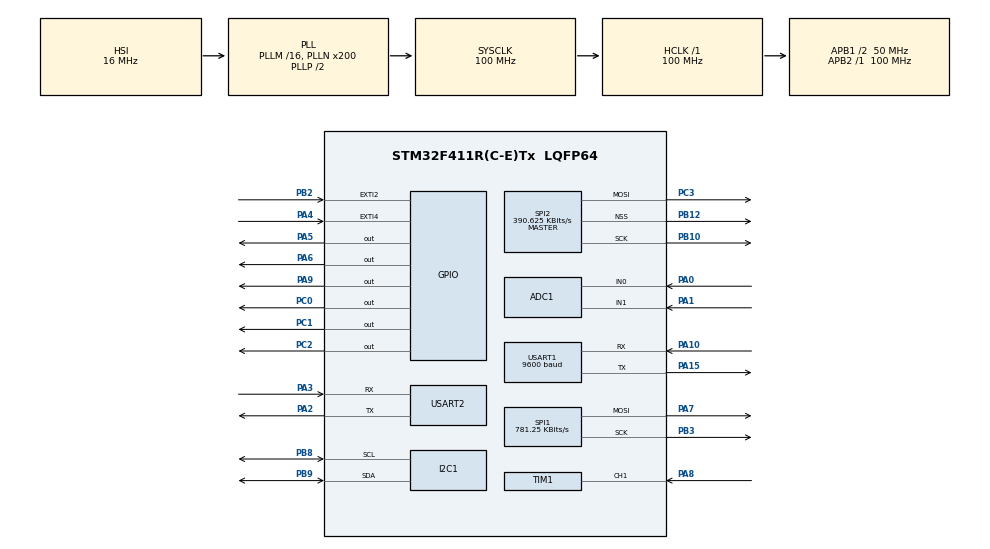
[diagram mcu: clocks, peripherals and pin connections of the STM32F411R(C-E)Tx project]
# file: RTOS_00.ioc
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ADC1.Channel-0\#ChannelRegularConversion=ADC_CHANNEL_0
ADC1.Channel-3\#ChannelRegularConversion=ADC_CHANNEL_1
ADC1.EOCSelection=ADC_EOC_SEQ_CONV
ADC1.InjNumberOfConversion=0
ADC1.NbrOfConversion=2
ADC1.NbrOfConversionFlag=1
ADC1.Rank-0\#ChannelRegularConversion=1
ADC1.Rank-3\#ChannelRegularConversion=2
ADC1.SamplingTime-0\#ChannelRegularConversion=ADC_SAMPLETIME_84CYCLES
ADC1.SamplingTime-3\#ChannelRegularConversion=ADC_SAMPLETIME_84CYCLES
ADC1.ScanConvMode=ENABLE
ADC1.master=1
Dma.ADC1.2.Direction=DMA_PERIPH_TO_MEMORY
Dma.ADC1.2.FIFOMode=DMA_FIFOMODE_DISABLE
Dma.ADC1.2.Instance=DMA2_Stream0
Dma.ADC1.2.MemDataAlignment=DMA_MDATAALIGN_HALFWORD
Dma.ADC1.2.MemInc=DMA_MINC_ENABLE
Dma.ADC1.2.Mode=DMA_NORMAL
Dma.ADC1.2.PeriphDataAlignment=DMA_PDATAALIGN_HALFWORD
Dma.ADC1.2.PeriphInc=DMA_PINC_DISABLE
Dma.ADC1.2.Priority=DMA_PRIORITY_LOW
Dma.Request0=USART2_RX
Dma.Request1=USART2_TX
Dma.Request2=ADC1
Dma.Request3=SPI2_TX
Dma.SPI2_TX.3.Direction=DMA_MEMORY_TO_PERIPH
Dma.SPI2_TX.3.FIFOMode=DMA_FIFOMODE_DISABLE
Dma.SPI2_TX.3.Instance=DMA1_Stream4
Dma.SPI2_TX.3.MemDataAlignment=DMA_MDATAALIGN_BYTE
Dma.SPI2_TX.3.MemInc=DMA_MINC_ENABLE
Dma.SPI2_TX.3.Mode=DMA_NORMAL
Dma.SPI2_TX.3.PeriphDataAlignment=DMA_PDATAALIGN_BYTE
Dma.SPI2_TX.3.PeriphInc=DMA_PINC_DISABLE
Dma.SPI2_TX.3.Priority=DMA_PRIORITY_LOW
Dma.USART2_RX.0.Direction=DMA_PERIPH_TO_MEMORY
Dma.USART2_RX.0.FIFOMode=DMA_FIFOMODE_DISABLE
Dma.USART2_RX.0.Instance=DMA1_Stream5
Dma.USART2_RX.0.MemDataAlignment=DMA_MDATAALIGN_BYTE
Dma.USART2_RX.0.MemInc=DMA_MINC_ENABLE
Dma.USART2_RX.0.Mode=DMA_NORMAL
Dma.USART2_RX.0.PeriphDataAlignment=DMA_PDATAALIGN_BYTE
Dma.USART2_RX.0.PeriphInc=DMA_PINC_DISABLE
Dma.USART2_RX.0.Priority=DMA_PRIORITY_LOW
Dma.USART2_TX.1.Direction=DMA_MEMORY_TO_PERIPH
Dma.USART2_TX.1.FIFOMode=DMA_FIFOMODE_DISABLE
Dma.USART2_TX.1.Instance=DMA1_Stream6
Dma.USART2_TX.1.MemDataAlignment=DMA_MDATAALIGN_BYTE
Dma.USART2_TX.1.MemInc=DMA_MINC_ENABLE
Dma.USART2_TX.1.Mode=DMA_NORMAL
Dma.USART2_TX.1.PeriphDataAlignment=DMA_PDATAALIGN_BYTE
Dma.USART2_TX.1.PeriphInc=DMA_PINC_DISABLE
Dma.USART2_TX.1.Priority=DMA_PRIORITY_LOW
FREERTOS.HEAP_NUMBER=1
FREERTOS.MEMORY_ALLOCATION=0
FREERTOS.Tasks01=MainProgram,0,128,MainProgramTask,Default,NULL,Dynamic,NULL,NULL
FREERTOS.configMINIMAL_STACK_SIZE=128
FREERTOS.configTOTAL_HEAP_SIZE=25600
FREERTOS.configUSE_COUNTING_SEMAPHORES=1
FREERTOS.configUSE_RECURSIVE_MUTEXES=1
Mcu.Family=STM32F4
Mcu.Name=STM32F411R(C-E)Tx
Mcu.Package=LQFP64
NVIC.ADC_IRQn=true\:5\:0\:false\:true\:true\:6\:true
NVIC.DMA1_Stream4_IRQn=true\:5\:0\:false\:false\:true\:true
NVIC.DMA1_Stream5_IRQn=true\:5\:0\:false\:true\:true\:1\:true
NVIC.DMA1_Stream6_IRQn=true\:5\:0\:false\:true\:true\:2\:true
NVIC.DMA2_Stream0_IRQn=true\:5\:0\:false\:false\:true\:true
NVIC.EXTI2_IRQn=true\:5\:0\:false\:true\:true\:8\:true
NVIC.EXTI4_IRQn=true\:5\:0\:false\:true\:true\:7\:true
NVIC.I2C1_ER_IRQn=true\:5\:0\:false\:true\:true\:11\:true
NVIC.I2C1_EV_IRQn=true\:5\:0\:false\:true\:true\:10\:true
NVIC.PriorityGroup=NVIC_PRIORITYGROUP_4
NVIC.SPI1_IRQn=true\:0\:0\:false\:true\:true\:5\:false
NVIC.SPI2_IRQn=true\:5\:0\:false\:false\:true\:true
NVIC.TIM1_CC_IRQn=true\:0\:0\:false\:true\:true\:9\:false
NVIC.TIM1_TRG_COM_TIM11_IRQn=true\:0\:0\:false\:true\:true\:3\:false
NVIC.TIM1_UP_TIM10_IRQn=true\:0\:0\:false\:false\:false\:false
NVIC.USART1_IRQn=true\:0\:0\:false\:true\:true\:12\:false
NVIC.USART2_IRQn=true\:0\:0\:false\:true\:true\:4\:false
PA0-WKUP.Signal=ADCx_IN0
PA1.Signal=ADCx_IN1
PA10.Mode=Asynchronous
PA10.Signal=USART1_RX
PA13.Mode=Serial_Wire
PA13.Signal=SYS_JTMS-SWDIO
PA14.Mode=Serial_Wire
PA14.Signal=SYS_JTCK-SWCLK
PA15.Mode=Asynchronous
PA15.Signal=USART1_TX
PA2.Mode=Asynchronous
PA2.Signal=USART2_TX
PA3.Mode=Asynchronous
PA3.Signal=USART2_RX
PA4.GPIO_PuPd=GPIO_PULLUP
PA4.Signal=GPXTI4
PA5.Signal=GPIO_Output
PA6.GPIO_PuPd=GPIO_PULLUP
PA6.GPIO_Speed=GPIO_SPEED_FREQ_MEDIUM
PA6.Signal=GPIO_Output
PA7.Mode=TX_Only_Simplex_Unidirect_Master
PA7.Signal=SPI1_MOSI
PA8.GPIO_PuPd=GPIO_PULLUP
PA8.GPIO_Speed=GPIO_SPEED_FREQ_MEDIUM
PA8.Signal=S_TIM1_CH1
PA9.GPIO_PuPd=GPIO_PULLUP
PA9.PinState=GPIO_PIN_RESET
PA9.Signal=GPIO_Output
PB10.Mode=TX_Only_Simplex_Unidirect_Master
PB10.Signal=SPI2_SCK
PB12.Mode=NSS_Signal_Hard_Output
PB12.Signal=SPI2_NSS
PB2.GPIO_PuPd=GPIO_PULLUP
PB2.Signal=GPXTI2
PB3.Mode=TX_Only_Simplex_Unidirect_Master
PB3.Signal=SPI1_SCK
PB8.Mode=I2C
PB8.Signal=I2C1_SCL
PB9.Mode=I2C
PB9.Signal=I2C1_SDA
PC0.GPIO_PuPd=GPIO_PULLUP
PC0.GPIO_Speed=GPIO_SPEED_FREQ_MEDIUM
PC0.PinState=GPIO_PIN_SET
PC0.Signal=GPIO_Output
PC1.GPIO_PuPd=GPIO_PULLUP
PC1.GPIO_Speed=GPIO_SPEED_FREQ_MEDIUM
PC1.PinState=GPIO_PIN_SET
PC1.Signal=GPIO_Output
PC2.GPIO_PuPd=GPIO_PULLUP
PC2.GPIO_Speed=GPIO_SPEED_FREQ_MEDIUM
PC2.PinState=GPIO_PIN_SET
PC2.Signal=GPIO_Output
PC3.Mode=TX_Only_Simplex_Unidirect_Master
PC3.Signal=SPI2_MOSI
ProjectManager.HeapSize=0x200
ProjectManager.StackSize=0x400
ProjectManager.TargetToolchain=TrueSTUDIO
RCC.48MHZClocksFreq_Value=50000000
RCC.AHBFreq_Value=100000000
RCC.APB1CLKDivider=RCC_HCLK_DIV2
RCC.APB1Freq_Value=50000000
RCC.APB1TimFreq_Value=100000000
RCC.APB2Freq_Value=100000000
RCC.APB2TimFreq_Value=100000000
RCC.CortexFreq_Value=100000000
RCC.HCLKFreq_Value=100000000
RCC.HSE_VALUE=25000000
RCC.HSI_VALUE=16000000
RCC.LSE_VALUE=32768
RCC.PLLN=200
RCC.SYSCLKFreq_VALUE=100000000
RCC.SYSCLKSource=RCC_SYSCLKSOURCE_PLLCLK
RCC.VCOOutputFreq_Value=200000000
SH.ADCx_IN0.0=ADC1_IN0,IN0
SH.ADCx_IN1.0=ADC1_IN1,IN1
SH.S_TIM1_CH1.0=TIM1_CH1,PWM_Input_1
SPI1.BaudRatePrescaler=SPI_BAUDRATEPRESCALER_128
SPI1.CLKPolarity=SPI_POLARITY_HIGH
SPI1.CalculateBaudRate=781.25 KBits/s
SPI1.DataSize=SPI_DATASIZE_16BIT
SPI1.Direction=SPI_DIRECTION_2LINES
SPI1.Mode=SPI_MODE_MASTER
SPI1.TIMode=SPI_TIMODE_DISABLE
SPI1.VirtualType=VM_MASTER
SPI2.BaudRatePrescaler=SPI_BAUDRATEPRESCALER_128
SPI2.CLKPolarity=SPI_POLARITY_HIGH
SPI2.CalculateBaudRate=390.625 KBits/s
SPI2.Direction=SPI_DIRECTION_2LINES
SPI2.Mode=SPI_MODE_MASTER
SPI2.TIMode=SPI_TIMODE_DISABLE
SPI2.VirtualNSS=VM_NSSHARD
SPI2.VirtualType=VM_MASTER
TIM1.Period=40000
TIM1.Prescaler=1000
TIM10.Period=10
TIM10.Prescaler=100
TIM11.Period=10000
TIM11.Prescaler=10000
USART1.BaudRate=9600
USART1.Mode=MODE_TX_RX
USART1.VirtualMode=VM_ASYNC
USART2.VirtualMode=VM_ASYNC
VP_FREERTOS_VS_ENABLE.Mode=Enabled
VP_TIM10_VS_ClockSourceINT.Mode=Enable_Timer
VP_TIM11_VS_ClockSourceINT.Mode=Enable_Timer
board=RTOS_00

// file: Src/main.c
/**
  ******************************************************************************
  * File Name          : main.c
  * Description        : Main program body
  ******************************************************************************
  * This notice applies to any and all portions of this file
  * that are not between comment pairs USER CODE BEGIN and
  * USER CODE END. Other portions of this file, whether
  * inserted by the user or by software development tools
  * are owned by their respective copyright owners.
  *
  * Copyright (c) 2018 STMicroelectronics International N.V.
  * All rights reserved.
  *
  * Redistribution and use in source and binary forms, with or without
  * modification, are permitted, provided that the following conditions are met:
  *
  * 1. Redistribution of source code must retain the above copyright notice,
  *    this list of conditions and the following disclaimer.
  * 2. Redistributions in binary form must reproduce the above copyright notice,
  *    this list of conditions and the following disclaimer in the documentation
  *    and/or other materials provided with the distribution.
  * 3. Neither the name of STMicroelectronics nor the names of other
  *    contributors to this software may be used to endorse or promote products
  *    derived from this software without specific written permission.
  * 4. This software, including modifications and/or derivative works of this
  *    software, must execute solely and exclusively on microcontroller or
  *    microprocessor devices manufactured by or for STMicroelectronics.
  * 5. Redistribution and use of this software other than as permitted under
  *    this license is void and will automatically terminate your rights under
  *    this license.
  *
  * THIS SOFTWARE IS PROVIDED BY STMICROELECTRONICS AND CONTRIBUTORS "AS IS"
  * AND ANY EXPRESS, IMPLIED OR STATUTORY WARRANTIES, INCLUDING, BUT NOT
  * LIMITED TO, THE IMPLIED WARRANTIES OF MERCHANTABILITY, FITNESS FOR A
  * PARTICULAR PURPOSE AND NON-INFRINGEMENT OF THIRD PARTY INTELLECTUAL PROPERTY
  * RIGHTS ARE DISCLAIMED TO THE FULLEST EXTENT PERMITTED BY LAW. IN NO EVENT
  * SHALL STMICROELECTRONICS OR CONTRIBUTORS BE LIABLE FOR ANY DIRECT, INDIRECT,
  * INCIDENTAL, SPECIAL, EXEMPLARY, OR CONSEQUENTIAL DAMAGES (INCLUDING, BUT NOT
  * LIMITED TO, PROCUREMENT OF SUBSTITUTE GOODS OR SERVICES; LOSS OF USE, DATA,
  * OR PROFITS; OR BUSINESS INTERRUPTION) HOWEVER CAUSED AND ON ANY THEORY OF
  * LIABILITY, WHETHER IN CONTRACT, STRICT LIABILITY, OR TORT (INCLUDING
  * NEGLIGENCE OR OTHERWISE) ARISING IN ANY WAY OUT OF THE USE OF THIS SOFTWARE,
  * EVEN IF ADVISED OF THE POSSIBILITY OF SUCH DAMAGE.
  *
  ******************************************************************************
  */
#include "main.h"
#include "stm32f4xx_hal.h"
#include "cmsis_os.h"

/* USER CODE BEGIN Includes */
#include "logger.h"
#include "ledDriver.h"
#include "ultraSoundDriver.h"
#include "joystickDriver.h"
#include "lcd_Nokia5110_Driver.h"
#include "transmitterAM433.h"
#include "eeprom24Cx.h"
#include <stdlib.h>
#include <string.h>
/* USER CODE END Includes */

ADC_HandleTypeDef hadc1;
DMA_HandleTypeDef hdma_adc1;

I2C_HandleTypeDef hi2c1;

SPI_HandleTypeDef hspi1;
SPI_HandleTypeDef hspi2;
DMA_HandleTypeDef hdma_spi2_tx;

TIM_HandleTypeDef htim1;
TIM_HandleTypeDef htim10;
TIM_HandleTypeDef htim11;

UART_HandleTypeDef huart1;
UART_HandleTypeDef huart2;
DMA_HandleTypeDef hdma_usart2_rx;
DMA_HandleTypeDef hdma_usart2_tx;

osThreadId MainProgramHandle;

/* USER CODE BEGIN PV */
/* Private variables ---------------------------------------------------------*/

/* USER CODE END PV */

void SystemClock_Config(void);
static void MX_GPIO_Init(void);
static void MX_DMA_Init(void);
static void MX_TIM11_Init(void);
static void MX_TIM10_Init(void);
static void MX_USART2_UART_Init(void);
static void MX_SPI1_Init(void);
static void MX_ADC1_Init(void);
static void MX_SPI2_Init(void);
static void MX_TIM1_Init(void);
static void MX_I2C1_Init(void);
static void MX_USART1_UART_Init(void);
void MainProgramTask(void const * argument);
static void MX_NVIC_Init(void);

/* USER CODE BEGIN PFP */
/* Private function prototypes -----------------------------------------------*/
static void mainTaskLoop(void);
static void initLogger(void);
static void initLedDriver(void);
static void initJoystick(void);
//static void initLcdScreen(void);
static void initUltraSoundDriver(void);
static void initTransmitterAM433(void);
static void initEeptom24CxDriver(void);

static void changeLedConfig(uint8_t modeDecode);
static void decodeNumber4Led(uint8_t device, uint8_t *numTable);
static void displayAsia();
/* USER CODE END PFP */

int main(void)
{

  /* MCU Configuration----------------------------------------------------------*/

  /* Reset of all peripherals, Initializes the Flash interface and the Systick. */
  HAL_Init();

  /* Configure the system clock */
  SystemClock_Config();

  /* Initialize all configured peripherals */
  MX_GPIO_Init();
  MX_DMA_Init();
  MX_TIM11_Init();
  MX_TIM10_Init();
  MX_USART2_UART_Init();
  MX_SPI1_Init();
  MX_ADC1_Init();
  MX_SPI2_Init();
  MX_TIM1_Init();
  MX_I2C1_Init();
  MX_USART1_UART_Init();

  /* Initialize interrupts */
  MX_NVIC_Init();

  /* USER CODE BEGIN 2 */

  HAL_TIM_Base_Start_IT(&htim11);

  /* USER CODE END 2 */

  /* Create the thread(s) */
  /* definition and creation of MainProgram */
  osThreadDef(MainProgram, MainProgramTask, osPriorityNormal, 0, 128);
  MainProgramHandle = osThreadCreate(osThread(MainProgram), NULL);

  /* Start scheduler */
  osKernelStart();

  /* We should never get here as control is now taken by the scheduler */

  /* Infinite loop */
  while (1)
  {

  }

}

/** System Clock Configuration
*/
void SystemClock_Config(void)
{

  RCC_OscInitTypeDef RCC_OscInitStruct;
  RCC_ClkInitTypeDef RCC_ClkInitStruct;

    /**Configure the main internal regulator output voltage
    */
  __HAL_RCC_PWR_CLK_ENABLE();

  __HAL_PWR_VOLTAGESCALING_CONFIG(PWR_REGULATOR_VOLTAGE_SCALE1);

    /**Initializes the CPU, AHB and APB busses clocks
    */
  RCC_OscInitStruct.OscillatorType = RCC_OSCILLATORTYPE_HSI;
  RCC_OscInitStruct.HSIState = RCC_HSI_ON;
  RCC_OscInitStruct.HSICalibrationValue = 16;
  RCC_OscInitStruct.PLL.PLLState = RCC_PLL_ON;
  RCC_OscInitStruct.PLL.PLLSource = RCC_PLLSOURCE_HSI;
  RCC_OscInitStruct.PLL.PLLM = 16;
  RCC_OscInitStruct.PLL.PLLN = 200;
  RCC_OscInitStruct.PLL.PLLP = RCC_PLLP_DIV2;
  RCC_OscInitStruct.PLL.PLLQ = 4;
  if (HAL_RCC_OscConfig(&RCC_OscInitStruct) != HAL_OK)
  {
    _Error_Handler(__FILE__, __LINE__);
  }

    /**Initializes the CPU, AHB and APB busses clocks
    */
  RCC_ClkInitStruct.ClockType = RCC_CLOCKTYPE_HCLK|RCC_CLOCKTYPE_SYSCLK
                              |RCC_CLOCKTYPE_PCLK1|RCC_CLOCKTYPE_PCLK2;
  RCC_ClkInitStruct.SYSCLKSource = RCC_SYSCLKSOURCE_PLLCLK;
  RCC_ClkInitStruct.AHBCLKDivider = RCC_SYSCLK_DIV1;
  RCC_ClkInitStruct.APB1CLKDivider = RCC_HCLK_DIV2;
  RCC_ClkInitStruct.APB2CLKDivider = RCC_HCLK_DIV1;

  if (HAL_RCC_ClockConfig(&RCC_ClkInitStruct, FLASH_LATENCY_3) != HAL_OK)
  {
    _Error_Handler(__FILE__, __LINE__);
  }

    /**Configure the Systick interrupt time
    */
  HAL_SYSTICK_Config(HAL_RCC_GetHCLKFreq()/1000);

    /**Configure the Systick
    */
  HAL_SYSTICK_CLKSourceConfig(SYSTICK_CLKSOURCE_HCLK);

  /* SysTick_IRQn interrupt configuration */
  HAL_NVIC_SetPriority(SysTick_IRQn, 15, 0);
}

/** NVIC Configuration
*/
static void MX_NVIC_Init(void)
{
  /* DMA1_Stream5_IRQn interrupt configuration */
  HAL_NVIC_SetPriority(DMA1_Stream5_IRQn, 5, 0);
  HAL_NVIC_EnableIRQ(DMA1_Stream5_IRQn);
  /* DMA1_Stream6_IRQn interrupt configuration */
  HAL_NVIC_SetPriority(DMA1_Stream6_IRQn, 5, 0);
  HAL_NVIC_EnableIRQ(DMA1_Stream6_IRQn);
  /* TIM1_TRG_COM_TIM11_IRQn interrupt configuration */
  HAL_NVIC_SetPriority(TIM1_TRG_COM_TIM11_IRQn, 0, 0);
  HAL_NVIC_EnableIRQ(TIM1_TRG_COM_TIM11_IRQn);
  /* USART2_IRQn interrupt configuration */
  HAL_NVIC_SetPriority(USART2_IRQn, 0, 0);
  HAL_NVIC_EnableIRQ(USART2_IRQn);
  /* SPI1_IRQn interrupt configuration */
  HAL_NVIC_SetPriority(SPI1_IRQn, 0, 0);
  HAL_NVIC_EnableIRQ(SPI1_IRQn);
  /* ADC_IRQn interrupt configuration */
  HAL_NVIC_SetPriority(ADC_IRQn, 5, 0);
  HAL_NVIC_EnableIRQ(ADC_IRQn);
  /* EXTI4_IRQn interrupt configuration */
  HAL_NVIC_SetPriority(EXTI4_IRQn, 5, 0);
  HAL_NVIC_EnableIRQ(EXTI4_IRQn);
  /* EXTI2_IRQn interrupt configuration */
  HAL_NVIC_SetPriority(EXTI2_IRQn, 5, 0);
  HAL_NVIC_EnableIRQ(EXTI2_IRQn);
  /* TIM1_CC_IRQn interrupt configuration */
  HAL_NVIC_SetPriority(TIM1_CC_IRQn, 0, 0);
  HAL_NVIC_EnableIRQ(TIM1_CC_IRQn);
  /* I2C1_EV_IRQn interrupt configuration */
  HAL_NVIC_SetPriority(I2C1_EV_IRQn, 5, 0);
  HAL_NVIC_EnableIRQ(I2C1_EV_IRQn);
  /* I2C1_ER_IRQn interrupt configuration */
  HAL_NVIC_SetPriority(I2C1_ER_IRQn, 5, 0);
  HAL_NVIC_EnableIRQ(I2C1_ER_IRQn);
  /* USART1_IRQn interrupt configuration */
  HAL_NVIC_SetPriority(USART1_IRQn, 0, 0);
  HAL_NVIC_EnableIRQ(USART1_IRQn);
}

/* ADC1 init function */
static void MX_ADC1_Init(void)
{

  ADC_ChannelConfTypeDef sConfig;

    /**Configure the global features of the ADC (Clock, Resolution, Data Alignment and number of conversion)
    */
  hadc1.Instance = ADC1;
  hadc1.Init.ClockPrescaler = ADC_CLOCK_SYNC_PCLK_DIV4;
  hadc1.Init.Resolution = ADC_RESOLUTION_12B;
  hadc1.Init.ScanConvMode = ENABLE;
  hadc1.Init.ContinuousConvMode = DISABLE;
  hadc1.Init.DiscontinuousConvMode = DISABLE;
  hadc1.Init.ExternalTrigConvEdge = ADC_EXTERNALTRIGCONVEDGE_NONE;
  hadc1.Init.ExternalTrigConv = ADC_SOFTWARE_START;
  hadc1.Init.DataAlign = ADC_DATAALIGN_RIGHT;
  hadc1.Init.NbrOfConversion = 2;
  hadc1.Init.DMAContinuousRequests = DISABLE;
  hadc1.Init.EOCSelection = ADC_EOC_SEQ_CONV;
  if (HAL_ADC_Init(&hadc1) != HAL_OK)
  {
    _Error_Handler(__FILE__, __LINE__);
  }

    /**Configure for the selected ADC regular channel its corresponding rank in the sequencer and its sample time.
    */
  sConfig.Channel = ADC_CHANNEL_0;
  sConfig.Rank = 1;
  sConfig.SamplingTime = ADC_SAMPLETIME_84CYCLES;
  if (HAL_ADC_ConfigChannel(&hadc1, &sConfig) != HAL_OK)
  {
    _Error_Handler(__FILE__, __LINE__);
  }

    /**Configure for the selected ADC regular channel its corresponding rank in the sequencer and its sample time.
    */
  sConfig.Channel = ADC_CHANNEL_1;
  sConfig.Rank = 2;
  if (HAL_ADC_ConfigChannel(&hadc1, &sConfig) != HAL_OK)
  {
    _Error_Handler(__FILE__, __LINE__);
  }

}

/* I2C1 init function */
static void MX_I2C1_Init(void)
{

  hi2c1.Instance = I2C1;
  hi2c1.Init.ClockSpeed = 100000;
  hi2c1.Init.DutyCycle = I2C_DUTYCYCLE_2;
  hi2c1.Init.OwnAddress1 = 0;
  hi2c1.Init.AddressingMode = I2C_ADDRESSINGMODE_7BIT;
  hi2c1.Init.DualAddressMode = I2C_DUALADDRESS_DISABLE;
  hi2c1.Init.OwnAddress2 = 0;
  hi2c1.Init.GeneralCallMode = I2C_GENERALCALL_DISABLE;
  hi2c1.Init.NoStretchMode = I2C_NOSTRETCH_DISABLE;
  if (HAL_I2C_Init(&hi2c1) != HAL_OK)
  {
    _Error_Handler(__FILE__, __LINE__);
  }

}

/* SPI1 init function */
static void MX_SPI1_Init(void)
{

  hspi1.Instance = SPI1;
  hspi1.Init.Mode = SPI_MODE_MASTER;
  hspi1.Init.Direction = SPI_DIRECTION_2LINES;
  hspi1.Init.DataSize = SPI_DATASIZE_16BIT;
  hspi1.Init.CLKPolarity = SPI_POLARITY_HIGH;
  hspi1.Init.CLKPhase = SPI_PHASE_1EDGE;
  hspi1.Init.NSS = SPI_NSS_SOFT;
  hspi1.Init.BaudRatePrescaler = SPI_BAUDRATEPRESCALER_128;
  hspi1.Init.FirstBit = SPI_FIRSTBIT_MSB;
  hspi1.Init.TIMode = SPI_TIMODE_DISABLE;
  hspi1.Init.CRCCalculation = SPI_CRCCALCULATION_DISABLE;
  hspi1.Init.CRCPolynomial = 10;
  if (HAL_SPI_Init(&hspi1) != HAL_OK)
  {
    _Error_Handler(__FILE__, __LINE__);
  }

}

/* SPI2 init function */
static void MX_SPI2_Init(void)
{

  hspi2.Instance = SPI2;
  hspi2.Init.Mode = SPI_MODE_MASTER;
  hspi2.Init.Direction = SPI_DIRECTION_2LINES;
  hspi2.Init.DataSize = SPI_DATASIZE_8BIT;
  hspi2.Init.CLKPolarity = SPI_POLARITY_HIGH;
  hspi2.Init.CLKPhase = SPI_PHASE_1EDGE;
  hspi2.Init.NSS = SPI_NSS_HARD_OUTPUT;
  hspi2.Init.BaudRatePrescaler = SPI_BAUDRATEPRESCALER_128;
  hspi2.Init.FirstBit = SPI_FIRSTBIT_MSB;
  hspi2.Init.TIMode = SPI_TIMODE_DISABLE;
  hspi2.Init.CRCCalculation = SPI_CRCCALCULATION_DISABLE;
  hspi2.Init.CRCPolynomial = 10;
  if (HAL_SPI_Init(&hspi2) != HAL_OK)
  {
    _Error_Handler(__FILE__, __LINE__);
  }

}

/* TIM1 init function */
static void MX_TIM1_Init(void)
{

  TIM_SlaveConfigTypeDef sSlaveConfig;
  TIM_IC_InitTypeDef sConfigIC;
  TIM_MasterConfigTypeDef sMasterConfig;

  htim1.Instance = TIM1;
  htim1.Init.Prescaler = 1000;
  htim1.Init.CounterMode = TIM_COUNTERMODE_UP;
  htim1.Init.Period = 40000;
  htim1.Init.ClockDivision = TIM_CLOCKDIVISION_DIV1;
  htim1.Init.RepetitionCounter = 0;
  if (HAL_TIM_IC_Init(&htim1) != HAL_OK)
  {
    _Error_Handler(__FILE__, __LINE__);
  }

  sSlaveConfig.SlaveMode = TIM_SLAVEMODE_RESET;
  sSlaveConfig.InputTrigger = TIM_TS_TI1FP1;
  sSlaveConfig.TriggerPolarity = TIM_INPUTCHANNELPOLARITY_RISING;
  sSlaveConfig.TriggerPrescaler = TIM_ICPSC_DIV1;
  sSlaveConfig.TriggerFilter = 0;
  if (HAL_TIM_SlaveConfigSynchronization(&htim1, &sSlaveConfig) != HAL_OK)
  {
    _Error_Handler(__FILE__, __LINE__);
  }

  sConfigIC.ICPolarity = TIM_INPUTCHANNELPOLARITY_RISING;
  sConfigIC.ICSelection = TIM_ICSELECTION_DIRECTTI;
  sConfigIC.ICPrescaler = TIM_ICPSC_DIV1;
  sConfigIC.ICFilter = 0;
  if (HAL_TIM_IC_ConfigChannel(&htim1, &sConfigIC, TIM_CHANNEL_1) != HAL_OK)
  {
    _Error_Handler(__FILE__, __LINE__);
  }

  sConfigIC.ICPolarity = TIM_INPUTCHANNELPOLARITY_FALLING;
  sConfigIC.ICSelection = TIM_ICSELECTION_INDIRECTTI;
  if (HAL_TIM_IC_ConfigChannel(&htim1, &sConfigIC, TIM_CHANNEL_2) != HAL_OK)
  {
    _Error_Handler(__FILE__, __LINE__);
  }

  sMasterConfig.MasterOutputTrigger = TIM_TRGO_RESET;
  sMasterConfig.MasterSlaveMode = TIM_MASTERSLAVEMODE_DISABLE;
  if (HAL_TIMEx_MasterConfigSynchronization(&htim1, &sMasterConfig) != HAL_OK)
  {
    _Error_Handler(__FILE__, __LINE__);
  }

}

/* TIM10 init function */
static void MX_TIM10_Init(void)
{

  htim10.Instance = TIM10;
  htim10.Init.Prescaler = 100;
  htim10.Init.CounterMode = TIM_COUNTERMODE_UP;
  htim10.Init.Period = 10;
  htim10.Init.ClockDivision = TIM_CLOCKDIVISION_DIV1;
  if (HAL_TIM_Base_Init(&htim10) != HAL_OK)
  {
    _Error_Handler(__FILE__, __LINE__);
  }

}

/* TIM11 init function */
static void MX_TIM11_Init(void)
{

  htim11.Instance = TIM11;
  htim11.Init.Prescaler = 10000;
  htim11.Init.CounterMode = TIM_COUNTERMODE_UP;
  htim11.Init.Period = 10000;
  htim11.Init.ClockDivision = TIM_CLOCKDIVISION_DIV1;
  if (HAL_TIM_Base_Init(&htim11) != HAL_OK)
  {
    _Error_Handler(__FILE__, __LINE__);
  }

}

/* USART1 init function */
static void MX_USART1_UART_Init(void)
{

  huart1.Instance = USART1;
  huart1.Init.BaudRate = 9600;
  huart1.Init.WordLength = UART_WORDLENGTH_8B;
  huart1.Init.StopBits = UART_STOPBITS_1;
  huart1.Init.Parity = UART_PARITY_NONE;
  huart1.Init.Mode = UART_MODE_TX_RX;
  huart1.Init.HwFlowCtl = UART_HWCONTROL_NONE;
  huart1.Init.OverSampling = UART_OVERSAMPLING_16;
  if (HAL_UART_Init(&huart1) != HAL_OK)
  {
    _Error_Handler(__FILE__, __LINE__);
  }

}

/* USART2 init function */
static void MX_USART2_UART_Init(void)
{

  huart2.Instance = USART2;
  huart2.Init.BaudRate = 115200;
  huart2.Init.WordLength = UART_WORDLENGTH_8B;
  huart2.Init.StopBits = UART_STOPBITS_1;
  huart2.Init.Parity = UART_PARITY_NONE;
  huart2.Init.Mode = UART_MODE_TX_RX;
  huart2.Init.HwFlowCtl = UART_HWCONTROL_NONE;
  huart2.Init.OverSampling = UART_OVERSAMPLING_16;
  if (HAL_UART_Init(&huart2) != HAL_OK)
  {
    _Error_Handler(__FILE__, __LINE__);
  }

}

static void MX_DMA_Init(void)
{
  /* DMA controller clock enable */
  __HAL_RCC_DMA1_CLK_ENABLE();
  __HAL_RCC_DMA2_CLK_ENABLE();

  /* DMA interrupt init */
  /* DMA1_Stream4_IRQn interrupt configuration */
  HAL_NVIC_SetPriority(DMA1_Stream4_IRQn, 5, 0);
  HAL_NVIC_EnableIRQ(DMA1_Stream4_IRQn);
  /* DMA2_Stream0_IRQn interrupt configuration */
  HAL_NVIC_SetPriority(DMA2_Stream0_IRQn, 5, 0);
  HAL_NVIC_EnableIRQ(DMA2_Stream0_IRQn);

}

/** Configure pins as
        * Analog
        * Input
        * Output
        * EVENT_OUT
        * EXTI
*/
static void MX_GPIO_Init(void)
{

  GPIO_InitTypeDef GPIO_InitStruct;

  /* GPIO Ports Clock Enable */
  __HAL_RCC_GPIOC_CLK_ENABLE();
  __HAL_RCC_GPIOA_CLK_ENABLE();
  __HAL_RCC_GPIOB_CLK_ENABLE();

  /*Configure GPIO pin Output Level */
  HAL_GPIO_WritePin(GPIOC, GPIO_PIN_0|GPIO_PIN_1|GPIO_PIN_2, GPIO_PIN_SET);

  /*Configure GPIO pin Output Level */
  HAL_GPIO_WritePin(GPIOA, GPIO_PIN_5|GPIO_PIN_6|GPIO_PIN_9, GPIO_PIN_RESET);

  /*Configure GPIO pins : PC0 PC1 PC2 */
  GPIO_InitStruct.Pin = GPIO_PIN_0|GPIO_PIN_1|GPIO_PIN_2;
  GPIO_InitStruct.Mode = GPIO_MODE_OUTPUT_PP;
  GPIO_InitStruct.Pull = GPIO_PULLUP;
  GPIO_InitStruct.Speed = GPIO_SPEED_FREQ_MEDIUM;
  HAL_GPIO_Init(GPIOC, &GPIO_InitStruct);

  /*Configure GPIO pin : PA4 */
  GPIO_InitStruct.Pin = GPIO_PIN_4;
  GPIO_InitStruct.Mode = GPIO_MODE_IT_RISING;
  GPIO_InitStruct.Pull = GPIO_PULLUP;
  HAL_GPIO_Init(GPIOA, &GPIO_InitStruct);

  /*Configure GPIO pin : PA5 */
  GPIO_InitStruct.Pin = GPIO_PIN_5;
  GPIO_InitStruct.Mode = GPIO_MODE_OUTPUT_PP;
  GPIO_InitStruct.Pull = GPIO_NOPULL;
  GPIO_InitStruct.Speed = GPIO_SPEED_FREQ_LOW;
  HAL_GPIO_Init(GPIOA, &GPIO_InitStruct);

  /*Configure GPIO pin : PA6 */
  GPIO_InitStruct.Pin = GPIO_PIN_6;
  GPIO_InitStruct.Mode = GPIO_MODE_OUTPUT_PP;
  GPIO_InitStruct.Pull = GPIO_PULLUP;
  GPIO_InitStruct.Speed = GPIO_SPEED_FREQ_MEDIUM;
  HAL_GPIO_Init(GPIOA, &GPIO_InitStruct);

  /*Configure GPIO pin : PB2 */
  GPIO_InitStruct.Pin = GPIO_PIN_2;
  GPIO_InitStruct.Mode = GPIO_MODE_IT_RISING;
  GPIO_InitStruct.Pull = GPIO_PULLUP;
  HAL_GPIO_Init(GPIOB, &GPIO_InitStruct);

  /*Configure GPIO pin : PA9 */
  GPIO_InitStruct.Pin = GPIO_PIN_9;
  GPIO_InitStruct.Mode = GPIO_MODE_OUTPUT_PP;
  GPIO_InitStruct.Pull = GPIO_PULLUP;
  GPIO_InitStruct.Speed = GPIO_SPEED_FREQ_LOW;
  HAL_GPIO_Init(GPIOA, &GPIO_InitStruct);

}

/* USER CODE BEGIN 4 */
/*****************************************************************************/
static void mainTaskLoop(void)
{
	uint8_t 	dispMode = 0;
	uint8_t 	data2Display[8];

	initLogger();
	initLedDriver();
	initJoystick();

	//initLcdScreen();

	initUltraSoundDriver();
	//initTransmitterAM433();
	initEeptom24CxDriver();

	while(1)
	{
		memset(data2Display, 0, sizeof(data2Display));

		if (0 == dispMode)
		{
			changeLedConfig(0);
			displayAsia();
		}

		if (1 == dispMode)
		{
			changeLedConfig(1);
			getJoystickPositionTextTrimmed(data2Display, data2Display+4);
			decodeNumber4Led(0, data2Display);
		}

		if (2 == dispMode)
		{
			changeLedConfig(1);
			getDistanceTextTrimmed(data2Display);
			decodeNumber4Led(0, data2Display);
		}

		{
			uint8_t		buff[40];
			readData(0x00, buff, 40);
			logMessage(LOG_INF, buff);
		}

		dispMode++;
		if (dispMode > 2)
		{
			dispMode = 0;
		}
		osDelay(1000);
	}
}

static void initLogger(void)
{
	createLoggerTask((uint32_t *) &huart2);

	logMessage(LOG_DEB, (uint8_t *) "Test - wpisanie do bufura");
	logMessage(LOG_ERR, (uint8_t *) "Test - brak obslugi bledow trza dodac");
	logMessage(LOG_DEB, (uint8_t *) "Test - mamy to po raz 3");
	logMessage(LOG_DEB, (uint8_t *) "Test - mamy to po raz 3 uart port");
}

static void initLedDriver(void)
{
    spiDeviceControl_t *spiDevices = (spiDeviceControl_t *) calloc(1, sizeof(spiDeviceControl_t));

    spiDevices->hwCS = 0;
	spiDevices->gpioPort = (uint32_t) GPIOA;
	spiDevices->gpioPin = GPIO_PIN_6;
	spiDevices->driverParams.testMode = 0x00;
	spiDevices->driverParams.scanMode = 0x07;
	spiDevices->driverParams.intensivity = 0x01;
	spiDevices->driverParams.decodeMode	= 0x00;
	spiDevices->driverParams.powerOn = 0x01;
	createLedDriverTask((uint32_t *) &hspi1, (spiDeviceControl_t *) spiDevices, 1);
}

static void changeLedConfig(uint8_t modeDecode)
{
	spiDeviceControl_t spiDevice;

	if(modeDecode == 1)
	{
		spiDevice.driverParams.testMode = 0x00;
		spiDevice.driverParams.scanMode = 0x07;
		spiDevice.driverParams.intensivity = 0x01;
		spiDevice.driverParams.decodeMode	= 0xff;
		spiDevice.driverParams.powerOn = 0x01;
	}
	else
	{
		spiDevice.driverParams.testMode = 0x00;
		spiDevice.driverParams.scanMode = 0x07;
		spiDevice.driverParams.intensivity = 0x01;
		spiDevice.driverParams.decodeMode	= 0x00;
		spiDevice.driverParams.powerOn = 0x01;
	}

	updateLedDriverConfig(spiDevice, 0);
}

static void displayAsia()
{
	displayLed(0, 0, 0x00);
	displayLed(0, 1, 0x65);
	displayLed(0, 2, 0x53);
	displayLed(0, 3, 0x00);
	displayLed(0, 4, 0x77);
	displayLed(0, 5, 0x30);
	displayLed(0, 6, 0x5b);
	displayLed(0, 7, 0x77);
}

static void decodeNumber4Led(uint8_t device, uint8_t *numTable)
{
	uint8_t i;

	for(i=0; i<8; i++)
	{
		if (0 != numTable[i])
		{
			displayLed(device, 7-i, numTable[i] - '0');
		}
		else
		{
			displayLed(device, 7-i, 0x0f);
		}
	}
}

static void initJoystick(void)
{
	createJoystickDriverTask((uint32_t *) &hadc1);
}

/*
static void initLcdScreen(void)
{
	spiLCDControl_t controlPins;

	controlPins.hwCS = 0;
	controlPins.chipSelectPin.gpioPort = (uint32_t) GPIOC;
	controlPins.chipSelectPin.gpioPin = GPIO_PIN_2;
	controlPins.dataCmdPin.gpioPort = (uint32_t) GPIOC;
	controlPins.dataCmdPin.gpioPin = GPIO_PIN_0;
	controlPins.resetPin.gpioPort = (uint32_t) GPIOC;
	controlPins.resetPin.gpioPin = GPIO_PIN_1;
	createLCDNokia5110DriverTask((uint32_t *)  &hspi2, &controlPins);
}*/

static void initUltraSoundDriver()
{
	triggerUltraSoundMeasure_t	trgPin;
	trgPin.gpioPin = GPIO_PIN_9;
	trgPin.gpioPort = (uint32_t) GPIOA;
  	createUltraSoundTask((uint32_t *) &htim1, trgPin);
}

static void initTransmitterAM433(void)
{
	uint8_t data2Send[4] = {
			0x55,
			0xf0,
			0xcc,
			0x33,
	};

	createTransmitterAM433DriverTask((uint32_t *) &huart1);

	transmitAM433Message(data2Send, 4);
}

static void initEeptom24CxDriver()
{
	createEeprom24CxDriverTask((uint32_t *) &hi2c1, 0xA0);
}

/*****************************************************************************/
/* USER CODE END 4 */

/* MainProgramTask function */
void MainProgramTask(void const * argument)
{

  /* USER CODE BEGIN 5 */

	mainTaskLoop();

  /* USER CODE END 5 */
}

void _Error_Handler(char * file, int line)
{
  while(1)
  {
  }
}

/************************ (C) COPYRIGHT STMicroelectronics *****END OF FILE****/
